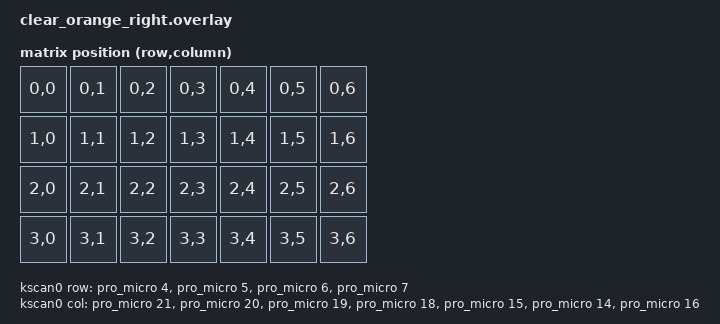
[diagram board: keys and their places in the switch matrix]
#include "clear_orange.dtsi"

/ {
    trackball: trackball {
        compatible = "pixart,mx8650";
        status = "okay";
        sclk-gpios = <&pro_micro 9 GPIO_ACTIVE_HIGH>;
        sdio-gpios = <&pro_micro 8 GPIO_ACTIVE_HIGH>;
    };

    trackball_listener: trackball_listener {
        compatible = "zmk,input-listener";
        device = <&trackball>;
    };
};

#include <dt-bindings/zmk/matrix_transform.h>

/ {
    chosen {
        zmk,kscan = &kscan0;
        zmk,matrix-transform = &default_transform;
    };

    default_transform: keymap_transform {
        compatible = "zmk,matrix-transform";
        columns = <14>;
        rows = <4>;
        col-offset = <7>;
        map = <
            RC(0,0) RC(0,1) RC(0,2) RC(0,3) RC(0,4) RC(0,5) RC(0,6)
            RC(1,0) RC(1,1) RC(1,2) RC(1,3) RC(1,4) RC(1,5) RC(1,6)
            RC(2,0) RC(2,1) RC(2,2) RC(2,3) RC(2,4) RC(2,5) RC(2,6)
            RC(3,0) RC(3,1) RC(3,2) RC(3,3) RC(3,4) RC(3,5) RC(3,6)
        >;
    };

    kscan0: kscan {
        compatible = "zmk,kscan-gpio-matrix";
        diode-direction = "col2row"; 

        row-gpios
            = <&pro_micro 4 (GPIO_ACTIVE_LOW | GPIO_PULL_UP)>
            , <&pro_micro 5 (GPIO_ACTIVE_LOW | GPIO_PULL_UP)>
            , <&pro_micro 6 (GPIO_ACTIVE_LOW | GPIO_PULL_UP)>
            , <&pro_micro 7 (GPIO_ACTIVE_LOW | GPIO_PULL_UP)>
            ;

        col-gpios
            = <&pro_micro 21 GPIO_ACTIVE_LOW>
            , <&pro_micro 20 GPIO_ACTIVE_LOW>
            , <&pro_micro 19 GPIO_ACTIVE_LOW>
            , <&pro_micro 18 GPIO_ACTIVE_LOW>
            , <&pro_micro 15 GPIO_ACTIVE_LOW>
            , <&pro_micro 14 GPIO_ACTIVE_LOW>
            , <&pro_micro 16 GPIO_ACTIVE_LOW>
            ;
    };
};
